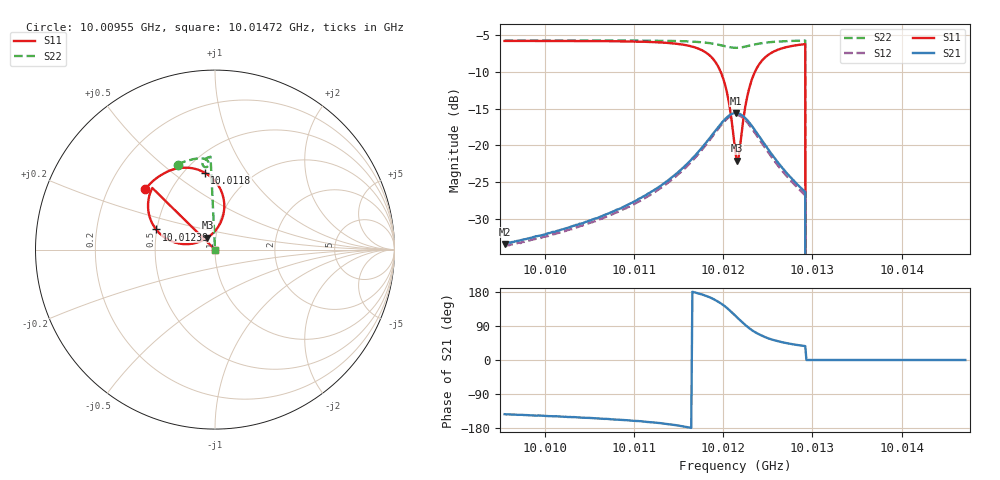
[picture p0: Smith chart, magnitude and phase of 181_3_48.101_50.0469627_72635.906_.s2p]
#  HZ  S  RI  R  50.00
! Rohde & Schwarz Vector Network Analyzer
! Rohde-Schwarz,ZNB20-2Port,1311601062101988,3.16
! Created: UTC 12/23/2023, 3:52:46 AM
! freq[Hz]  re:S11  im:S11  re:S21  im:S21  re:S12  im:S12  re:S22  im:S22
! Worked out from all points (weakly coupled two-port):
!   401 points, 10.00955 GHz to 10.01472 GHz, reference 50 ohm
!   highest |S21| = -15.60 dB at 10.01215 GHz (marker M1); lowest = -33.5 dB at 10.00955 GHz (marker M2)
!   lowest |S11| = -22.1 dB at 10.01216 GHz (marker M3), VSWR 1.17, Z = 45.6 + j6.07 ohm
!   |S11| at or under -10 dB: 10.01197 GHz to 10.01236 GHz (382.8 kHz wide, 0.00382 % of centre); 10.01292 GHz to end of sweep
!   |S22| runs from - to -5.7 dB; largest |S21 - S12| = 0.0081
!   S11 on the Smith chart (normalised r, x): 10.00955 GHz: 0.36, +0.33; 10.0118 GHz: 0.62, +0.66; 10.01239 GHz: 0.49, +0.13; 10.01472 GHz: 1.00, +0.00
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1.0009548e10  -0.3889 0.3375  -0.0169 -0.0127  -0.0157 -0.0131  -0.2088 0.4739
1.0010414e10  -0.3339 0.3918  -0.0259 -0.0137  -0.0242 -0.0144  -0.1548 0.4951
1.001128e10  -0.2323 0.4467  -0.0505 -0.0124  -0.0479 -0.0145  -0.0936 0.5082
1.0011564e10  -0.1608 0.4566  -0.0713 -0.0052  -0.0685 -0.00895  -0.0692 0.5077
1.0011796e10  -0.0583 0.4293  -0.1007 0.0171  -0.0982 0.0113  -0.0468 0.4996
1.0011913e10  0.00965 0.3698  -0.1166 0.0471  -0.1156 0.0393  -0.0367 0.4889
1.0012003e10  0.049 0.2772  -0.1197 0.0849  -0.1204 0.0774  -0.0339 0.4757
1.0012068e10  0.0441 0.1852  -0.1071 0.1185  -0.1093 0.1113  -0.038 0.4658
1.0012132e10  -0.00858 0.0942  -0.077 0.1467  -0.0809 0.14  -0.0475 0.4597
1.0012145e10  -0.0247 0.0793  -0.0694 0.1507  -0.0735 0.1441  -0.0499 0.4593
1.0012158e10  -0.0421 0.0661  -0.0616 0.1539  -0.0655 0.1474  -0.0522 0.4592
1.0012184e10  -0.0805 0.0458  -0.0454 0.1574  -0.0496 0.1512  -0.0567 0.46
1.0012236e10  -0.1623 0.0302  -0.0134 0.1553  -0.0181 0.1497  -0.0644 0.4648
1.0012274e10  -0.2183 0.0382  0.0074 0.1471  0.00202 0.1422  -0.0681 0.4703
1.0012326e10  -0.2785 0.0661  0.0277 0.1314  0.0223 0.1271  -0.0702 0.4782
1.0012391e10  -0.3283 0.1125  0.042 0.1102  0.0363 0.1069  -0.0686 0.4877
1.0012572e10  -0.3727 0.2288  0.0505 0.0651  0.0457 0.0641  -0.055 0.5049
1.0012895e10  -0.3521 0.3381  0.0393 0.0302  0.0359 0.0305  -0.0269 0.5168
1.0012959e10  0 0  0 0  0 0  0 0
1.0012998e10  0 0  0 0  0 0  0 0
1.0013864e10  0 0  0 0  0 0  0 0
1.0014716e10  0 0  0 0  0 0  0 0
